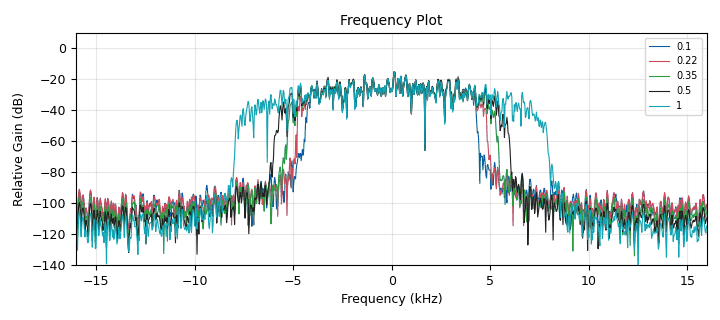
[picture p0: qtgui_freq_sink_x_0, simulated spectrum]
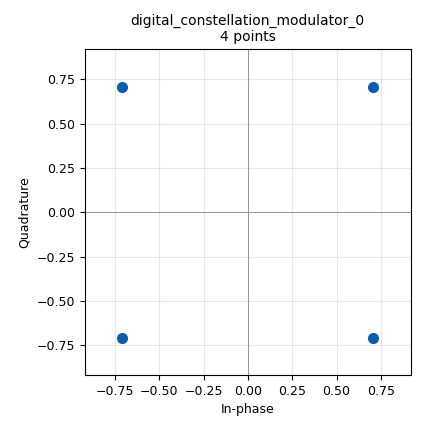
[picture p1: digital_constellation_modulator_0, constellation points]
options:
  parameters:
    author: Admin
    generate_options: qt_gui
    id: rrc_rolloff
    output_language: python
    title: QPSK RRC Rolloff
  states: {}

blocks:
- name: excess_bw
  id: variable
  parameters:
    value: '0.350'
  states: {}
- name: qpsk
  id: variable_constellation_rect
  parameters:
    const_points: '[0.707+0.707j, -0.707+0.707j, -0.707-0.707j, 0.707-0.707j]'
    imag_sect: '2'
    real_sect: '2'
    rot_sym: '4'
    sym_map: '[0, 1, 3, 2]'
    w_imag_sect: '1'
    w_real_sect: '1'
  states: {}
- name: samp_rate
  id: variable
  parameters:
    value: '32000'
  states: {}
- name: sps
  id: variable
  parameters:
    value: '4'
  states: {}
- name: analog_random_source_x_0
  id: analog_random_source_x
  parameters:
    max: '256'
    min: '0'
    num_samps: '10000'
    repeat: 'True'
    type: byte
  states: {}
- name: blocks_throttle2_0
  id: blocks_throttle2
  parameters:
    samples_per_second: samp_rate
    type: complex
  states: {}
- name: digital_constellation_modulator_0
  id: digital_constellation_modulator
  parameters:
    constellation: qpsk
    differential: 'True'
    excess_bw: excess_bw-0.250
    samples_per_symbol: sps
  states: {}
- name: digital_constellation_modulator_0_0
  id: digital_constellation_modulator
  parameters:
    constellation: qpsk
    differential: 'True'
    excess_bw: excess_bw-0.130
    samples_per_symbol: sps
  states: {}
- name: digital_constellation_modulator_0_1
  id: digital_constellation_modulator
  parameters:
    constellation: qpsk
    differential: 'True'
    excess_bw: excess_bw
    samples_per_symbol: sps
  states: {}
- name: digital_constellation_modulator_0_2
  id: digital_constellation_modulator
  parameters:
    constellation: qpsk
    differential: 'True'
    excess_bw: excess_bw+0.150
    samples_per_symbol: sps
  states: {}
- name: digital_constellation_modulator_0_3
  id: digital_constellation_modulator
  parameters:
    constellation: qpsk
    differential: 'True'
    excess_bw: excess_bw+0.650
    samples_per_symbol: sps
  states: {}
- name: qtgui_freq_sink_x_0
  id: qtgui_freq_sink_x
  parameters:
    bw: samp_rate
    fc: '0'
    fftsize: '1024'
    gui_hint: 1,0,1,2
    label1: '0.1'
    label2: '0.22'
    label3: '0.35'
    label4: '0.5'
    label5: '1'
    name: '"Frequency Plot"'
    nconnections: '5'
    norm_window: 'True'
    type: complex
  states: {}

connections:
- [analog_random_source_x_0, '0', digital_constellation_modulator_0, '0']
- [analog_random_source_x_0, '0', digital_constellation_modulator_0_0, '0']
- [analog_random_source_x_0, '0', digital_constellation_modulator_0_1, '0']
- [analog_random_source_x_0, '0', digital_constellation_modulator_0_2, '0']
- [analog_random_source_x_0, '0', digital_constellation_modulator_0_3, '0']
- [blocks_throttle2_0, '0', qtgui_freq_sink_x_0, '0']
- [digital_constellation_modulator_0, '0', blocks_throttle2_0, '0']
- [digital_constellation_modulator_0_0, '0', qtgui_freq_sink_x_0, '1']
- [digital_constellation_modulator_0_1, '0', qtgui_freq_sink_x_0, '2']
- [digital_constellation_modulator_0_2, '0', qtgui_freq_sink_x_0, '3']
- [digital_constellation_modulator_0_3, '0', qtgui_freq_sink_x_0, '4']

metadata:
  file_format: 1
  grc_version: 3.10.12.0
